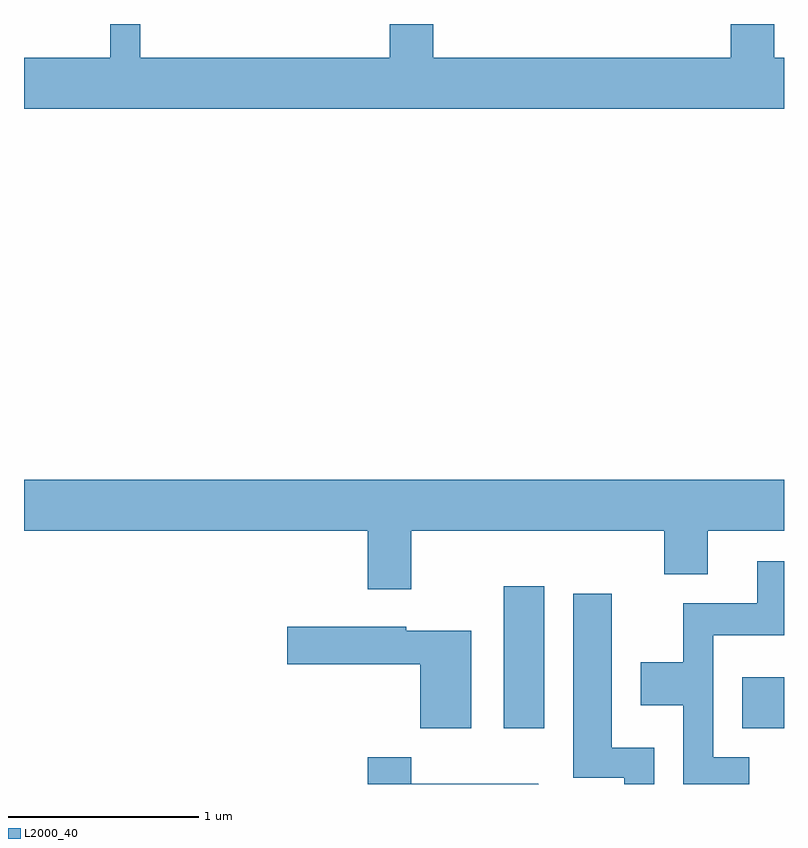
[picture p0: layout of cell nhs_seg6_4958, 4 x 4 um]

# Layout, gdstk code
import gdstk
lib = gdstk.Library(unit=1e-6, precision=1e-09)
def R(c, l, rs):  # rectangles x0, y0, x1, y1
    for r in rs: c.add(gdstk.rectangle(r[:2], r[2:], *l))
def P(c, l, *ps):  # polygons
    for p in ps: c.add(gdstk.Polygon(p, *l))
L2000_40 = (2000, 40)

nhs_seg6_4958 = lib.new_cell('nhs_seg6_4958')
R(nhs_seg6_4958, L2000_40, [(338.136,1644.456,338.349,1645.204), (339.391,1644.456,339.611,1644.724)])
P(nhs_seg6_4958, L2000_40, [(339.611,1647.984),(339.559,1647.984),(339.559,1648.162),(339.331,1648.162),(339.331,1647.984),(337.764,1647.984),(337.764,1648.162),(337.536,1648.162),(337.536,1647.984),(336.224,1647.984),(336.224,1648.162),(336.066,1648.162),(336.066,1647.984),(335.611,1647.984),(335.611,1647.716),(339.611,1647.716)],
  [(337.649,1645.496),(338.981,1645.496),(338.981,1645.266),(339.209,1645.266),(339.209,1645.496),(339.611,1645.496),(339.611,1645.764),(335.611,1645.764),(335.611,1645.496),(337.421,1645.496),(337.421,1645.186),(337.649,1645.186)],
  [(339.428,1644.304),(339.239,1644.304),(339.239,1644.946),(339.611,1644.946),(339.611,1645.334),(339.471,1645.334),(339.471,1645.114),(339.081,1645.114),(339.081,1644.804),(338.856,1644.804),(338.856,1644.576),(339.081,1644.576),(339.081,1644.162),(339.428,1644.162)],
  [(338.929,1644.354),(338.704,1644.354),(338.704,1645.164),(338.501,1645.164),(338.501,1644.196),(338.771,1644.196),(338.771,1644.162),(338.929,1644.162)],
  [(337.964,1644.969),(337.624,1644.969),(337.624,1644.989),(336.996,1644.989),(336.996,1644.791),(337.696,1644.791),(337.696,1644.456),(337.964,1644.456)],
  [(338.317,1644.164),(337.649,1644.164),(337.649,1644.304),(337.421,1644.304),(337.421,1644.162),(338.319,1644.162)])

lib.write_gds('nhs_seg6_4958.gds')
